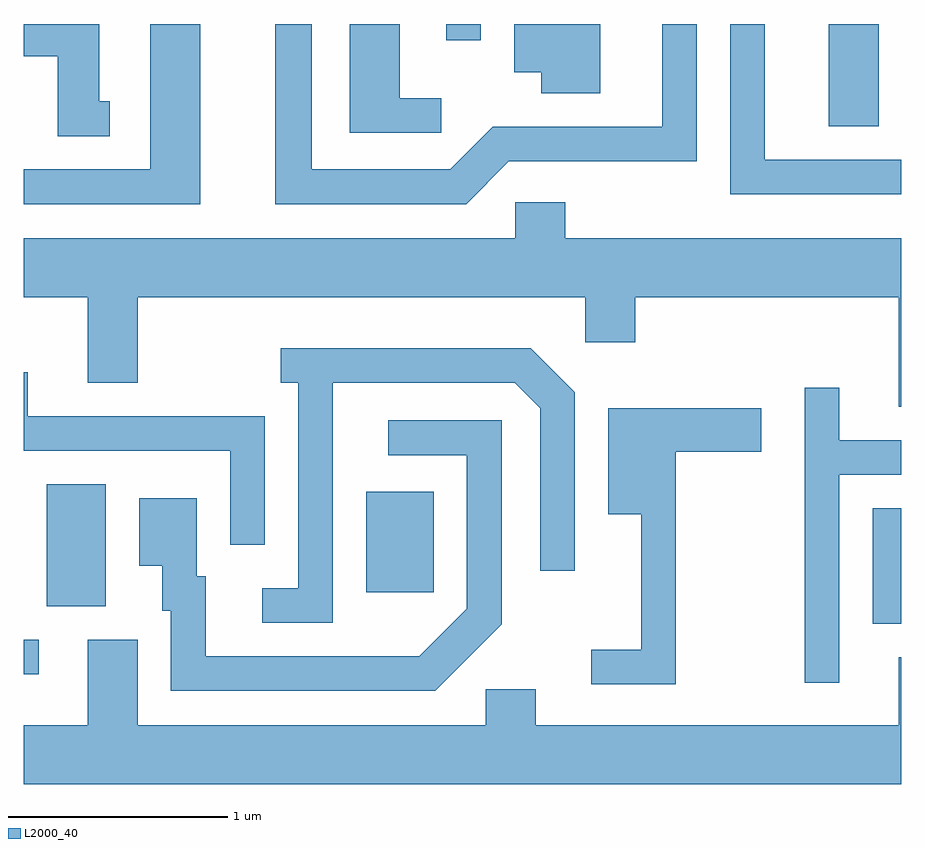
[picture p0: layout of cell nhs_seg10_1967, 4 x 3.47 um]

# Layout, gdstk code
import gdstk
lib = gdstk.Library(unit=1e-6, precision=1e-09)
def R(c, l, rs):  # rectangles x0, y0, x1, y1
    for r in rs: c.add(gdstk.rectangle(r[:2], r[2:], *l))
def P(c, l, *ps):  # polygons
    for p in ps: c.add(gdstk.Polygon(p, *l))
L2000_40 = (2000, 40)

nhs_seg10_1967 = lib.new_cell('nhs_seg10_1967')
R(nhs_seg10_1967, L2000_40, [(243.611,2085.556,243.678,2085.714), (247.481,2085.786,247.611,2086.314), (243.716,2085.866,243.984,2086.424), (245.171,2085.931,245.479,2086.389), (247.281,2088.056,247.509,2088.522), (245.536,2088.448,245.694,2088.522)])
P(nhs_seg10_1967, L2000_40, [(244.003,2088.169),(243.954,2088.169),(243.954,2088.522),(243.611,2088.522),(243.611,2088.376),(243.766,2088.376),(243.766,2088.011),(244.003,2088.011)],
  [(245.513,2088.184),(245.324,2088.184),(245.324,2088.522),(245.096,2088.522),(245.096,2088.026),(245.513,2088.026)],
  [(247.611,2087.904),(246.989,2087.904),(246.989,2088.522),(246.831,2088.522),(246.831,2087.746),(247.611,2087.746)],
  [(245.822,2087.896),(246.679,2087.896),(246.679,2088.522),(246.521,2088.522),(246.521,2088.054),(245.749,2088.054),(245.554,2087.859),(244.924,2087.859),(244.924,2088.522),(244.756,2088.522),(244.756,2087.701),(245.627,2087.701)],
  [(244.414,2088.522),(244.186,2088.522),(244.186,2087.859),(243.611,2087.859),(243.611,2087.701),(244.414,2087.701)],
  [(246.239,2088.522),(245.846,2088.522),(245.846,2088.301),(245.971,2088.301),(245.971,2088.206),(246.239,2088.206)],
  [(247.611,2087.544),(246.079,2087.544),(246.079,2087.709),(245.851,2087.709),(245.851,2087.544),(243.611,2087.544),(243.611,2087.276),(243.901,2087.276),(243.901,2086.886),(244.129,2086.886),(244.129,2087.276),(246.171,2087.276),(246.171,2087.071),(246.399,2087.071),(246.399,2087.276),(247.601,2087.276),(247.601,2086.776),(247.611,2086.776)],
  [(245.019,2086.886),(245.849,2086.886),(245.966,2086.769),(245.966,2086.028),(246.124,2086.028),(246.124,2086.842),(245.922,2087.044),(244.783,2087.044),(244.783,2086.886),(244.861,2086.886),(244.861,2085.949),(244.698,2085.949),(244.698,2085.791),(245.019,2085.791)],
  [(244.709,2086.734),(243.629,2086.734),(243.629,2086.934),(243.611,2086.934),(243.611,2086.576),(244.551,2086.576),(244.551,2086.148),(244.709,2086.148)],
  [(247.329,2086.466),(247.611,2086.466),(247.611,2086.624),(247.329,2086.624),(247.329,2086.863),(247.171,2086.863),(247.171,2085.518),(247.329,2085.518)],
  [(246.584,2086.571),(246.974,2086.571),(246.974,2086.769),(246.276,2086.769),(246.276,2086.286),(246.426,2086.286),(246.426,2085.669),(246.198,2085.669),(246.198,2085.511),(246.584,2085.511)],
  [(245.789,2085.784),(245.789,2086.714),(245.273,2086.714),(245.273,2086.556),(245.631,2086.556),(245.631,2085.856),(245.414,2085.639),(244.439,2085.639),(244.439,2086.004),(244.399,2086.004),(244.399,2086.359),(244.136,2086.359),(244.136,2086.051),(244.241,2086.051),(244.241,2085.846),(244.281,2085.846),(244.281,2085.481),(245.487,2085.481)],
  [(247.611,2085.634),(247.601,2085.634),(247.601,2085.324),(245.944,2085.324),(245.944,2085.489),(245.716,2085.489),(245.716,2085.324),(244.129,2085.324),(244.129,2085.714),(243.901,2085.714),(243.901,2085.324),(243.611,2085.324),(243.611,2085.056),(247.611,2085.056)])

lib.write_gds('nhs_seg10_1967.gds')
